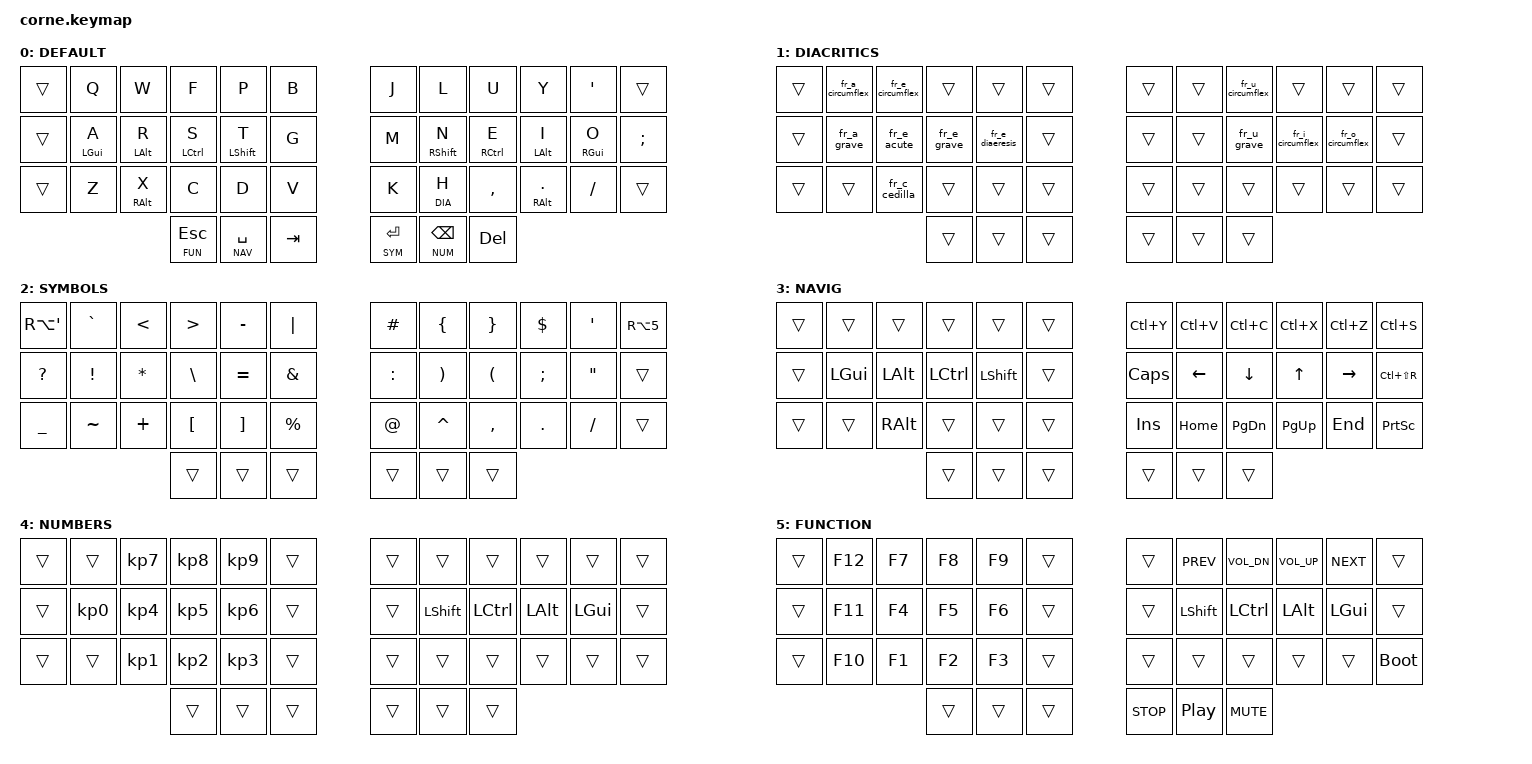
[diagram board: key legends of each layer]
#include <behaviors.dtsi>
#include <behaviors/num_word.dtsi>
#include <dt-bindings/zmk/keys.h>
#include "keypos_42keys.h"

#define HOST_OS 1
#include "zmk-helpers/helper.h"
#include "zmk-helpers/unicode-chars/french.dtsi"

#define DEF 0
#define DIA 1
#define SYM 2
#define NAV 3
#define NUM 4
#define FUN 5

#define XXX &none
#define ___ &trans

/* Global settings */

#define QUICK_TAP_MS 175

&sk {  // sticky-key config
    release-after-ms = <900>;  // release after 0.6s
    quick-release;             // no double capitalization when rolling keys
};

&sl {  // sticky-layer config
    ignore-modifiers;          // allow chording sticky mods & layers
};

/*
  layer-tap config
  Quickly tap-tap-holding the lt button will repeat the tap behavior
  For example enter-enter-hold, will output multiple enter while you
  keep holding the key.
  But holding enter without double tapping, will activate the layer.
*/ 
&lt { 
    flavor = "balanced";
    tapping-term-ms = <200>;
    quick-tap-ms = <QUICK_TAP_MS>;
};

/* Homerow mods */

#define KEYS_L LT0 LT1 LT2 LT3 LT4 LM0 LM1 LM2 LM3 LM4 LB0 LB1 LB2 LB3 LB4  // left hand
#define KEYS_R RT0 RT1 RT2 RT3 RT4 RM0 RM1 RM2 RM3 RM4 RB0 RB1 RB2 RB3 RB4  // right hand
#define THUMBS LH2 LH1 LH0 RH0 RH1 RH2                                      // thumbs

#define MAKE_HRM(NAME, HOLD, TAP, TRIGGER_POS)                                 \
  ZMK_HOLD_TAP(NAME, bindings = <HOLD>, <TAP>; flavor = "balanced";            \
               tapping-term-ms = <280>; quick-tap-ms = <QUICK_TAP_MS>;         \
               require-prior-idle-ms = <150>; hold-trigger-on-release;         \
               hold-trigger-key-positions = <TRIGGER_POS>;)

MAKE_HRM(hml, &kp, &kp, KEYS_R THUMBS) // Left-hand HRMs.
MAKE_HRM(hmr, &kp, &kp, KEYS_L THUMBS) // Right-hand HRMs.

#define ZMK_COMBO_8(NAME, TAP, POS, LAYERS, COMBO_MS, IDLE_MS, HOLD, SIDE)     \
  MAKE_HRM(hm_combo_##NAME, &kp, TAP, SIDE THUMBS)                             \
  ZMK_COMBO_6(NAME, &hm_combo_##NAME HOLD 0, POS, LAYERS, COMBO_MS, IDLE_MS)

// #include "combos.dtsi"

/* Smart layers */

// &caps_word {  // mods deactivate caps-word, requires PR #1451
//     continue-list = <UNDERSCORE MINUS LCTRL LALT LGUI LSHFT RCTRL RALT RGUI RSHFT BACKSPACE HASH AT AGRV EACU EGRV UGRV CARET COMMA DOT SQT>;
//     /delete-property/ ignore-numbers;
//     /delete-property/ ignore-modifiers;
// };


// &num_word {  // num-word, requires PR #1451
//     continue-list = <BSPC DEL DOT COMMA PLUS MINUS ASTR SLSH EQUAL>;
//     ignore-modifiers;
//     ignore-numbers;
// };

// / {
//   behaviors {
//     nav_word: nav_word {
//       compatible = "zmk,behavior-auto-layer";
//       #binding-cells = <1>;
//       continue-list = <LEFT DOWN UP RIGHT PG_UP PG_DN KK_UNDO KK_CUT KK_COPY KK_PASTE>;
//       ignore-modifiers;
//     };
//   };
// };

// ZMK_AUTO_LAYER(nav_word,
//     continue-list = <LEFT DOWN UP RIGHT PG_UP PG_DN KK_UNDO KK_CUT KK_COPY KK_PASTE>;
//     ignore-modifiers;
// );

// ZMK_TRI_STATE(swapper,
//     bindings = <&kt LALT>, <&kp TAB>, <&kt LALT>;
//     ignored-key-positions = <LT2>;
// )

// ZMK_TAP_DANCE(a_dance, bindings = <&kp A>, <&sl NUM>;
//               tapping-term-ms = <200>;)

// ALIASES
#define KK_CUT     LC(X)
#define KK_COPY    LC(C)
#define KK_PASTE   LC(V)
#define KK_UNDO    LC(Z)
#define KK_REDO    LC(Y)
#define KK_SAVE    LC(S)
#define KK_RELOAD  LC(LS(R))
#define KK_EUR     RA(N5)
/*
          ╭─────┬─────┬─────┬─────┬─────┬─────╮   ╭─────┬─────┬─────┬─────┬─────┬─────╮
          │     │  Q  │  W  │  F  │  P  │  B  │   │  J  │  L  │  U  │  Y  │ ' * │     │
          │     │  A  │  R  │  S  │  T  │  G  │   │  M  │  N  │  E  │  I  │  O  │     │
          │     │  Z  │  X  │  C  │  D  │  V  │   │  K  │  H  │ ,<  │  .> │ / ? │     │
          ╰─────┴─────┴─────┼─────┼─────┼─────┤   ├─────┼─────┼─────┼─────┴─────┴─────╯
                            │ ESC │ SPC │ TAB │   │Enter│ BSPC│ DEL │
                            ╰─────┴─────┴─────╯   ╰─────┴─────┴─────╯
*/
ZMK_LAYER(DEFAULT,
  ___   &kp Q         &kp W         &kp F          &kp P          &kp B        &kp J         &kp L          &kp U          &kp Y         &kp SQT          ___
  ___   &hml LGUI A   &hml LALT R   &hml LCTRL S   &hml LSHFT T   &kp G        &kp M         &hmr RSHFT N   &hmr RCTRL E   &hmr LALT I   &hmr RGUI O      &kp SEMI
  ___   &kp Z         &hml RALT X   &kp C          &kp D          &kp V        &kp K         &lt DIA H      &kp COMMA      &hmr RALT DOT &kp FSLH          ___
                      &lt FUN ESC   &lt NAV SPACE  &kp TAB        &lt SYM ENTER    &lt NUM BSPC  &kp DEL
)

/*
          ╭─────┬─────┬─────┬─────┬─────┬─────╮   ╭─────┬─────┬─────┬─────┬─────┬─────╮
          │     │  â  │     │  ê  │     │     │   │     │     │  û  │     │     │     │
          │     │  à  │  é  │  è  │  ë  │     │   │     │     │  ù  │  î  │  ô  │     │
          │     │     │     │  ç  │     │     │   │     │  X  │     │     │     │     │
          ╰─────┴─────┴─────┼─────┼─────┼─────┤   ├─────┼─────┼─────┼─────┴─────┴─────╯
                            │     │     │     │   │     │     │     │
                            ╰─────┴─────┴─────╯   ╰─────┴─────┴─────╯
*/

ZMK_LAYER(DIACRITICS,
  ___   &fr_a_circumflex   &fr_e_circumflex   ___   ___   ___                  ___   ___   &fr_u_circumflex   ___   ___   ___
  ___   &fr_a_grave        &fr_e_acute   &fr_e_grave   &fr_e_diaeresis   ___     ___   ___   &fr_u_grave   &fr_i_circumflex   &fr_o_circumflex   ___
  ___   ___                &fr_c_cedilla   ___   ___  ___                   ___   ___   ___   ___   ___   ___
                                                   ___   ___   ___       ___   ___   ___
)

/*
          ┌─────┬─────┬─────┬─────┬─────┬─────╮   ╭─────┬─────┬─────┬─────┬─────┬─────╮
          │  ´  │  `  │  <  │  >  │  -  │  |  │   │  #  │  {  │  }  │  $  │  '  │  €  │
          │  ?  │  !  │  *  │  \  │  =  │  &  │   │  :  │  (  │  )  │  ;  │  "  │     │
          │  _  │  ~  │  +  │  [  │  ]  │  %  │   │  @  │  ^  │  ,  │  .  │  /  │     │
          ╰─────┴─────┴─────┼─────┼─────┼─────┤   ├─────┼─────┼─────┼─────┴─────┴─────╯
                            │     │     │     │   │  X  │     │     │
                            ╰─────┴─────┴─────╯   ╰─────┴─────┴─────╯
*/
ZMK_LAYER(SYMBOLS,
  &kp RA(SQT)     &kp GRAVE     &kp LT      &kp GT     &kp MINUS    &kp PIPE         &kp HASH     &kp LBRC     &kp RBRC     &kp DLLR     &kp SQT   &kp KK_EUR
  &kp QMARK       &kp EXCL      &kp STAR    &kp BSLH   &kp EQUAL    &kp AMPS         &kp COLON    &kp RPAR     &kp LPAR     &kp SEMI     &kp DQT   ___
  &kp UNDER       &kp TILDE     &kp PLUS    &kp LBKT   &kp RBKT     &kp PRCNT        &kp AT       &kp CARET    &kp COMMA    &kp DOT      &kp FSLH  ___
                                            ___        ___          ___              ___          ___          ___
)
/*
          ┌─────┬─────┬─────┬─────┬─────┬─────╮   ╭─────┬─────┬─────┬─────┬─────┬─────╮
          │     │     │     │ SWAP│     |     │   │REDO │PASTE│COPY │ CUT │UNDO │SAVE │
          │     │ GUI │ ALT │CTRL │SHIFT│     │   │CAPS │  ←  │  ↓  │  ↑  │  →  │RELOAD│
          │     │     │     │     │     │     │   │ INS │HOME │ PDN │ PUP │ END │PSCRN│
          ╰─────┴─────┴─────┼─────┼─────┼─────┤   ├─────┼─────┼─────┼─────┴─────┴─────╯
                            │     │  X  │     │   │     │     │     │
                            ╰─────┴─────┴─────╯   ╰─────┴─────┴─────╯
*/

ZMK_LAYER(NAVIG,
  ___  ___           ___          ___           ___         ___      &kp KK_REDO    &kp KK_PASTE   &kp KK_COPY    &kp KK_CUT    &kp KK_UNDO   &kp KK_SAVE
  ___  &kp LGUI     &kp LALT      &kp LCTRL     &kp LSHFT   ___      &kp CAPS       &kp LEFT       &kp DOWN       &kp UP        &kp RIGHT     &kp KK_RELOAD
  ___  ___          &kp RALT      ___           ___         ___      &kp INS        &kp HOME       &kp PG_DN      &kp PG_UP     &kp END       &kp PSCRN
                                  ___           ___         ___      ___            ___            ___
)

/*
          ┌─────┬─────┬─────┬─────┬─────┬─────╮   ╭─────┬─────┬─────┬─────┬─────┬─────╮
          │     │     │  7  │  8  │  9  │     │   │     │     │     │     │     │     │
          │     │  0  │  4  │  5  │  6  │     │   │     │ SHIFT│CTRL│ ALT │ GUI │     │
          │     │     │  1  │  2  │  3  │     │   │     │     │     │     │     │     │
          ╰─────┴─────┴─────┼─────┼─────┼─────┤   ├─────┼─────┼─────┼─────┴─────┴─────╯
                            │     │     │     │   │     │  X  │     │
                            ╰─────┴─────┴─────╯   ╰─────┴─────┴─────╯
*/

ZMK_LAYER(NUMBERS,
  ___   ___             &kp KP_N7      &kp KP_N8       &kp KP_N9   ___      ___    ___    ___    ___   ___    ___
  ___   &kp KP_N0       &kp KP_N4      &kp KP_N5       &kp KP_N6   ___      ___    &kp LSHFT     &kp LCTRL     &kp LALT      &kp LGUI    ___
  ___   ___             &kp KP_N1      &kp KP_N2       &kp KP_N3   ___      ___    ___    ___    ___   ___    ___
                                       ___             ___         ___      ___    ___    ___
)



/*
          ╭─────┬─────┬─────┬─────┬─────┬─────╮   ╭─────┬─────┬─────┬─────┬─────┬─────╮
          │     │ F12 │ F7  │ F8  │ F9  │     │   │     │ PREV│VDWN │ VUP │ NEXT│     │
          │     │ F11 │ F4  │ F5  │ F6  │     │   │     │ SHIFT│CTRL│ ALT │ GUI │     │
          │     │ F10 │ F1  │ F2  │ F3  │     │   │     │     │     │     │     │     │
          ╰─────┴─────┴─────┼─────┼─────┼─────┤   ├─────┼─────┼─────┼─────┴─────┴─────╯
                            │  X  │     │     │   │ STOP│PAUSE│ MUTE│
                            ╰─────┴─────┴─────╯   ╰─────┴─────┴─────╯
*/
ZMK_LAYER(FUNCTION,
   ___   &kp F12       &kp F7        &kp F8        &kp F9   ___        ___         &kp C_PREV    &kp C_VOL_DN  &kp C_VOL_UP  &kp C_NEXT  ___
   ___   &kp F11       &kp F4        &kp F5        &kp F6   ___        ___         &kp LSHFT     &kp LCTRL     &kp LALT      &kp LGUI    ___
   ___   &kp F10       &kp F1        &kp F2        &kp F3   ___        ___         ___           ___           ___           ___         &bootloader
                                     ___           ___      ___        &kp C_STOP  &kp C_PP      &kp C_MUTE
)

